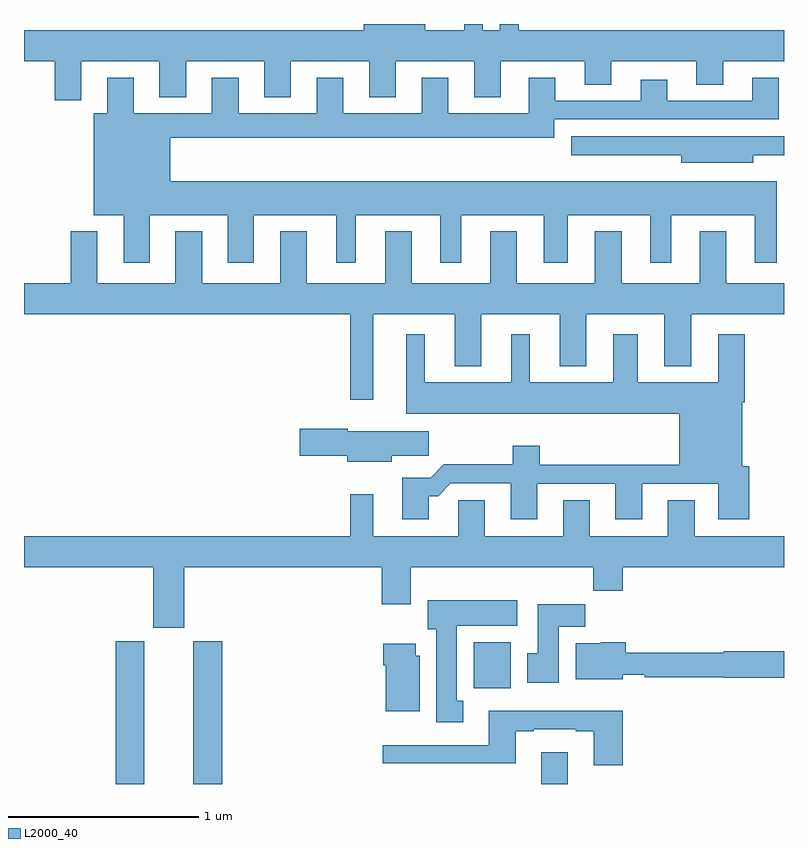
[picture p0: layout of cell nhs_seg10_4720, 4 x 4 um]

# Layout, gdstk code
import gdstk
lib = gdstk.Library(unit=1e-6, precision=1e-09)
def R(c, l, rs):  # rectangles x0, y0, x1, y1
    for r in rs: c.add(gdstk.rectangle(r[:2], r[2:], *l))
def P(c, l, *ps):  # polygons
    for p in ps: c.add(gdstk.Polygon(p, *l))
L2000_40 = (2000, 40)

nhs_seg10_4720 = lib.new_cell('nhs_seg10_4720')
R(nhs_seg10_4720, L2000_40, [(381.482,1308.5,381.634,1309.251), (381.89,1308.5,382.043,1309.251), (383.723,1308.5,383.863,1308.667), (383.366,1309.004,383.563,1309.246)])
P(nhs_seg10_4720, L2000_40, [(381.301,1312.304),(381.713,1312.304),(381.713,1312.115),(381.853,1312.115),(381.853,1312.304),(382.265,1312.304),(382.265,1312.115),(382.405,1312.115),(382.405,1312.304),(382.817,1312.304),(382.817,1312.115),(382.957,1312.115),(382.957,1312.304),(383.369,1312.304),(383.369,1312.115),(383.509,1312.115),(383.509,1312.304),(383.951,1312.304),(383.951,1312.18),(384.091,1312.18),(384.091,1312.304),(384.539,1312.304),(384.539,1312.18),(384.679,1312.18),(384.679,1312.304),(385,1312.304),(385,1312.468),(383.603,1312.468),(383.603,1312.5),(383.505,1312.5),(383.505,1312.468),(383.415,1312.468),(383.415,1312.5),(383.318,1312.5),(383.318,1312.468),(383.113,1312.468),(383.113,1312.5),(382.787,1312.5),(382.787,1312.468),(381,1312.468),(381,1312.304),(381.161,1312.304),(381.161,1312.098),(381.301,1312.098)],
  [(381.661,1311.494),(382.073,1311.494),(382.073,1311.243),(382.21,1311.243),(382.21,1311.494),(382.643,1311.494),(382.643,1311.243),(382.747,1311.243),(382.747,1311.494),(383.192,1311.494),(383.192,1311.243),(383.302,1311.243),(383.302,1311.494),(383.735,1311.494),(383.735,1311.243),(383.863,1311.243),(383.863,1311.494),(384.296,1311.494),(384.296,1311.243),(384.406,1311.243),(384.406,1311.494),(384.845,1311.494),(384.845,1311.243),(384.961,1311.243),(384.961,1311.673),(381.769,1311.673),(381.769,1311.902),(383.791,1311.902),(383.791,1311.999),(384.973,1311.999),(384.973,1312.216),(384.833,1312.216),(384.833,1312.095),(384.385,1312.095),(384.385,1312.207),(384.245,1312.207),(384.245,1312.095),(383.797,1312.095),(383.797,1312.216),(383.657,1312.216),(383.657,1312.03),(383.233,1312.03),(383.233,1312.216),(383.093,1312.216),(383.093,1312.03),(382.681,1312.03),(382.681,1312.216),(382.541,1312.216),(382.541,1312.03),(382.129,1312.03),(382.129,1312.216),(381.989,1312.216),(381.989,1312.03),(381.577,1312.03),(381.577,1312.216),(381.437,1312.216),(381.437,1312.03),(381.368,1312.03),(381.368,1311.494),(381.524,1311.494),(381.524,1311.243),(381.661,1311.243)],
  [(384.838,1311.809),(385,1311.809),(385,1311.91),(383.88,1311.91),(383.88,1311.809),(384.458,1311.809),(384.458,1311.77),(384.838,1311.77)],
  [(382.837,1310.972),(383.267,1310.972),(383.267,1310.699),(383.407,1310.699),(383.407,1310.972),(383.819,1310.972),(383.819,1310.699),(383.959,1310.699),(383.959,1310.972),(384.371,1310.972),(384.371,1310.699),(384.511,1310.699),(384.511,1310.972),(385,1310.972),(385,1311.136),(384.697,1311.136),(384.697,1311.409),(384.557,1311.409),(384.557,1311.136),(384.145,1311.136),(384.145,1311.409),(384.005,1311.409),(384.005,1311.136),(383.593,1311.136),(383.593,1311.409),(383.453,1311.409),(383.453,1311.136),(383.041,1311.136),(383.041,1311.409),(382.901,1311.409),(382.901,1311.136),(382.489,1311.136),(382.489,1311.409),(382.349,1311.409),(382.349,1311.136),(381.937,1311.136),(381.937,1311.409),(381.797,1311.409),(381.797,1311.136),(381.385,1311.136),(381.385,1311.409),(381.245,1311.409),(381.245,1311.136),(381,1311.136),(381,1310.972),(382.716,1310.972),(382.716,1310.523),(382.837,1310.523)],
  [(383.131,1310.015),(383.18,1310.015),(383.247,1310.082),(383.561,1310.082),(383.561,1309.893),(383.701,1309.893),(383.701,1310.079),(384.113,1310.079),(384.113,1309.893),(384.253,1309.893),(384.253,1310.079),(384.653,1310.079),(384.653,1309.893),(384.818,1309.893),(384.818,1310.172),(384.781,1310.172),(384.781,1310.51),(384.794,1310.51),(384.794,1310.866),(384.653,1310.866),(384.653,1310.614),(384.229,1310.614),(384.229,1310.866),(384.101,1310.866),(384.101,1310.614),(383.662,1310.614),(383.662,1310.866),(383.564,1310.866),(383.564,1310.614),(383.11,1310.614),(383.11,1310.866),(383.012,1310.866),(383.012,1310.45),(384.449,1310.45),(384.449,1310.18),(383.714,1310.18),(383.714,1310.281),(383.572,1310.281),(383.572,1310.183),(383.21,1310.183),(383.14,1310.113),(382.991,1310.113),(382.991,1309.893),(383.131,1309.893)],
  [(382.936,1310.227),(383.131,1310.227),(383.131,1310.356),(382.704,1310.356),(382.704,1310.369),(382.452,1310.369),(382.452,1310.227),(382.7,1310.227),(382.7,1310.195),(382.936,1310.195)],
  [(381.844,1309.64),(382.883,1309.64),(382.883,1309.446),(383.035,1309.446),(383.035,1309.64),(383.995,1309.64),(383.995,1309.516),(384.152,1309.516),(384.152,1309.64),(385,1309.64),(385,1309.804),(384.529,1309.804),(384.529,1309.994),(384.389,1309.994),(384.389,1309.804),(383.977,1309.804),(383.977,1309.994),(383.837,1309.994),(383.837,1309.804),(383.425,1309.804),(383.425,1309.994),(383.286,1309.994),(383.286,1309.804),(382.837,1309.804),(382.837,1310.026),(382.716,1310.026),(382.716,1309.804),(381,1309.804),(381,1309.64),(381.68,1309.64),(381.68,1309.323),(381.844,1309.323)],
  [(383.311,1308.938),(383.278,1308.938),(383.278,1309.334),(383.596,1309.334),(383.596,1309.468),(383.126,1309.468),(383.126,1309.314),(383.171,1309.314),(383.171,1308.825),(383.311,1308.825)],
  [(383.815,1309.328),(383.954,1309.328),(383.954,1309.447),(383.705,1309.447),(383.705,1309.188),(383.648,1309.188),(383.648,1309.032),(383.815,1309.032)],
  [(384.15,1309.074),(384.268,1309.074),(384.268,1309.063),(384.684,1309.063),(384.684,1309.058),(385,1309.058),(385,1309.2),(384.684,1309.2),(384.684,1309.192),(384.168,1309.192),(384.168,1309.246),(384.036,1309.246),(384.036,1309.24),(383.903,1309.24),(383.903,1309.052),(384.15,1309.052)],
  [(383.083,1309.176),(383.062,1309.176),(383.062,1309.237),(382.892,1309.237),(382.892,1309.124),(382.904,1309.124),(382.904,1308.884),(383.083,1308.884)],
  [(384.152,1308.886),(383.447,1308.886),(383.447,1308.705),(382.887,1308.705),(382.887,1308.608),(383.587,1308.608),(383.587,1308.777),(383.683,1308.777),(383.683,1308.789),(383.903,1308.789),(383.903,1308.777),(383.999,1308.777),(383.999,1308.6),(384.152,1308.6)])

lib.write_gds('nhs_seg10_4720.gds')
